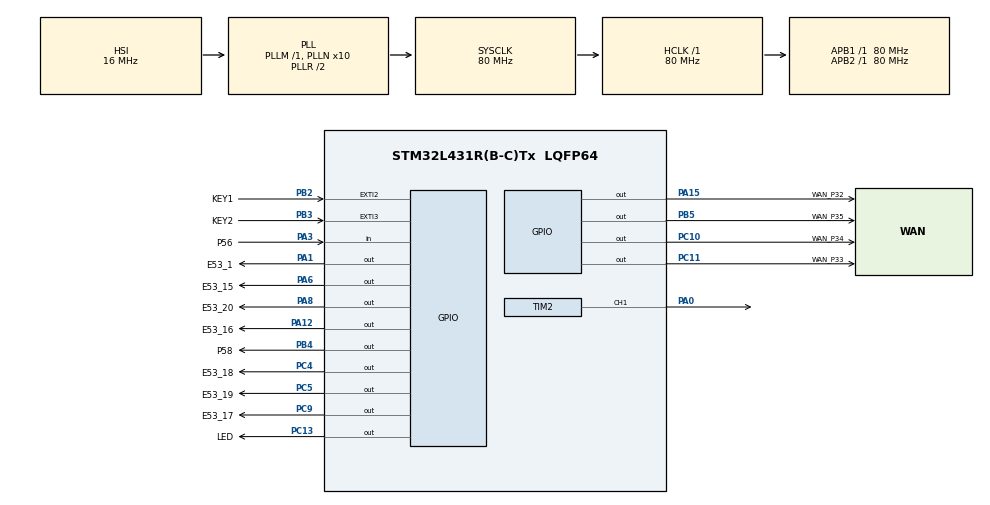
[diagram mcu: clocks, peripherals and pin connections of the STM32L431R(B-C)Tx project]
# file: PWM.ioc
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Mcu.Family=STM32L4
Mcu.Name=STM32L431R(B-C)Tx
Mcu.Package=LQFP64
NVIC.EXTI3_IRQn=true\:0\:0\:false\:false\:true\:true\:true\:true
NVIC.PriorityGroup=NVIC_PRIORITYGROUP_4
NVIC.TIM2_IRQn=true\:0\:0\:false\:false\:true\:true\:true\:true
PA0.Signal=S_TIM2_CH1
PA1.GPIO_Label=E53_1
PA1.Signal=GPIO_Output
PA12.GPIO_Label=E53_16
PA12.Signal=GPIO_Output
PA15\ (JTDI).GPIO_Label=WAN_P32
PA15\ (JTDI).Signal=GPIO_Output
PA3.GPIO_Label=P56
PA3.Signal=GPIO_Input
PA6.GPIO_Label=E53_15
PA6.Signal=GPIO_Output
PA8.GPIO_Label=E53_20
PA8.Signal=GPIO_Output
PB2.GPIO_Label=KEY1
PB2.GPIO_PuPd=GPIO_PULLUP
PB2.Signal=GPXTI2
PB3\ (JTDO-TRACESWO).GPIO_Label=KEY2
PB3\ (JTDO-TRACESWO).GPIO_PuPd=GPIO_PULLUP
PB3\ (JTDO-TRACESWO).Signal=GPXTI3
PB4\ (NJTRST).GPIO_Label=P58
PB4\ (NJTRST).Signal=GPIO_Output
PB5.GPIO_Label=WAN_P35
PB5.Signal=GPIO_Output
PC10.GPIO_Label=WAN_P34
PC10.Signal=GPIO_Output
PC11.GPIO_Label=WAN_P33
PC11.Signal=GPIO_Output
PC13.GPIO_Label=LED
PC13.Signal=GPIO_Output
PC4.GPIO_Label=E53_18
PC4.Signal=GPIO_Output
PC5.GPIO_Label=E53_19
PC5.Signal=GPIO_Output
PC9.GPIO_Label=E53_17
PC9.Signal=GPIO_Output
ProjectManager.HeapSize=0x200
ProjectManager.StackSize=0x400
ProjectManager.TargetToolchain=MDK-ARM V5.27
RCC.ADCFreq_Value=64000000
RCC.AHBFreq_Value=80000000
RCC.APB1Freq_Value=80000000
RCC.APB1TimFreq_Value=80000000
RCC.APB2Freq_Value=80000000
RCC.APB2TimFreq_Value=80000000
RCC.CortexFreq_Value=80000000
RCC.HCLKFreq_Value=80000000
RCC.HSE_VALUE=8000000
RCC.HSI48_VALUE=48000000
RCC.HSI_VALUE=16000000
RCC.LSE_VALUE=32768
RCC.MSI_VALUE=4000000
RCC.PLLN=10
RCC.PLLSourceVirtual=RCC_PLLSOURCE_HSI
RCC.SYSCLKFreq_VALUE=80000000
RCC.SYSCLKSource=RCC_SYSCLKSOURCE_PLLCLK
RCC.VCOOutputFreq_Value=160000000
SH.S_TIM2_CH1.0=TIM2_CH1,PWM Generation1 CH1
TIM2.Channel-PWM\ Generation1\ CH1=TIM_CHANNEL_1
TIM2.Period=1739-1
TIM2.Prescaler=4-1
TIM2.Pulse-PWM\ Generation1\ CH1=869
board=custom

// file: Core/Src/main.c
/* USER CODE BEGIN Header */
/**
  ******************************************************************************
  * @file           : main.c
  * @brief          : Main program body
  ******************************************************************************
  * @attention
  *
  * Copyright (c) 2024 STMicroelectronics.
  * All rights reserved.
  *
  * This software is licensed under terms that can be found in the LICENSE file
  * in the root directory of this software component.
  * If no LICENSE file comes with this software, it is provided AS-IS.
  *
  ******************************************************************************
  */
/* USER CODE END Header */
#include "main.h"

/* USER CODE BEGIN Includes */
#include "tube.h"
/* USER CODE END Includes */

/* USER CODE BEGIN PD */
#define DURATION_PER_BIT 10
/* USER CODE END PD */

TIM_HandleTypeDef htim2;

void SystemClock_Config(void);
static void MX_GPIO_Init(void);
static void MX_TIM2_Init(void);

/* USER CODE BEGIN 0 */
void sendData(char left_end, char middle_left, char middle_right, char right_end, char durationPerBit){
	tube_display(10,10,10,10,4);

	HAL_TIM_PWM_Start_IT(&htim2, TIM_CHANNEL_1);
	HAL_Delay(durationPerBit);//Start Bit #1
	HAL_Delay(left_end * durationPerBit);//High Level Bit #1

	HAL_TIM_PWM_Stop_IT(&htim2, TIM_CHANNEL_1);
	HAL_Delay(9*durationPerBit - left_end*durationPerBit);//Low Level Bit #1
	HAL_Delay(durationPerBit);//Stop Bit #1

	HAL_TIM_PWM_Start_IT(&htim2, TIM_CHANNEL_1);
	HAL_Delay(durationPerBit);//Start Bit #2
	HAL_Delay(middle_left * durationPerBit);//High Level Bit #2

	HAL_TIM_PWM_Stop_IT(&htim2, TIM_CHANNEL_1);
	HAL_Delay(9*durationPerBit - middle_left*durationPerBit);//Low Level Bit #2
	HAL_Delay(durationPerBit);//Stop Bit #2

	HAL_TIM_PWM_Start_IT(&htim2, TIM_CHANNEL_1);
	HAL_Delay(durationPerBit);//Start Bit #3
	HAL_Delay(middle_right * durationPerBit);//High Level Bit #3

	HAL_TIM_PWM_Stop_IT(&htim2, TIM_CHANNEL_1);
	HAL_Delay(9*durationPerBit - middle_right*durationPerBit);//Low Level Bit #3
	HAL_Delay(durationPerBit);//Stop Bit #3

	HAL_TIM_PWM_Start_IT(&htim2, TIM_CHANNEL_1);
	HAL_Delay(durationPerBit);//Start Bit #4
	HAL_Delay(right_end * durationPerBit);//High Level Bit #4

	HAL_TIM_PWM_Stop_IT(&htim2, TIM_CHANNEL_1);
	HAL_Delay(9*durationPerBit - right_end*durationPerBit);//Low Level Bit #4
	HAL_Delay(durationPerBit);//Stop Bit #4
}
/* USER CODE END 0 */

int main(void)
{
  /* USER CODE BEGIN 1 */
	uint8_t transmitting = 0, overallTransmitting = 0;
	uint8_t digit = 1, num_left_end = 10, num_middle_left = 10, num_middle_right = 10, num_right_end = 10;
	uint32_t timeStart, timePause;
	GPIO_PinState input_pin_state_new = GPIO_PIN_RESET, input_pin_state_old = GPIO_PIN_RESET;
  /* USER CODE END 1 */

  /* MCU Configuration--------------------------------------------------------*/

  /* Reset of all peripherals, Initializes the Flash interface and the Systick. */
  HAL_Init();

  /* Configure the system clock */
  SystemClock_Config();

  /* Initialize all configured peripherals */
  MX_GPIO_Init();
  MX_TIM2_Init();
  /* USER CODE BEGIN 2 */
	HAL_TIM_Base_Start_IT(&htim2);

  /* USER CODE END 2 */

  /* Infinite loop */
  while (1)
  {

    /* USER CODE BEGIN 3 */
		input_pin_state_new = HAL_GPIO_ReadPin(GPIOA,P56_Pin);
		if((input_pin_state_new == GPIO_PIN_SET) && (input_pin_state_old == GPIO_PIN_RESET))//0->1
		{
			if(!transmitting){
				timeStart = HAL_GetTick();
				transmitting = 1;
			}
			if(!overallTransmitting){
				overallTransmitting = 1;
				digit = 1;
				num_left_end = 10;
				num_middle_left = 10;
				num_middle_right = 10;
				num_right_end = 10;
			}
			else if(digit>4) digit = 1;
		}
		else if((input_pin_state_new == GPIO_PIN_RESET) && (input_pin_state_old == GPIO_PIN_SET))//1->0
		{
			if(transmitting) timePause = HAL_GetTick();
		}
		else if((input_pin_state_new == GPIO_PIN_RESET) && (input_pin_state_old == GPIO_PIN_RESET))//0->0
		{
			if(transmitting && (HAL_GetTick()-timePause >= DURATION_PER_BIT/2)){
				transmitting = 0;
				if(digit == 1) num_left_end = ((timePause-timeStart)/DURATION_PER_BIT - 1)%10;
				else if(digit == 2) num_middle_left = ((timePause-timeStart)/DURATION_PER_BIT - 1)%10;
				else if(digit == 3) num_middle_right = ((timePause-timeStart)/DURATION_PER_BIT - 1)%10;
				else if(digit == 4) num_right_end = ((timePause-timeStart)/DURATION_PER_BIT - 1)%10;
				digit++;
				if(digit > 4) digit = 5;
			}
			if(overallTransmitting && (HAL_GetTick()-timePause > 5000)) overallTransmitting = 0;
		}
		input_pin_state_old = input_pin_state_new;
		if(overallTransmitting) tube_display(num_left_end,num_middle_left,num_middle_right,num_right_end,4);
		else tube_display(num_left_end,num_middle_left,num_middle_right,num_right_end,0);
	}
  /* USER CODE END 3 */
}

void SystemClock_Config(void)
{
  RCC_OscInitTypeDef RCC_OscInitStruct = {0};
  RCC_ClkInitTypeDef RCC_ClkInitStruct = {0};

  /** Configure the main internal regulator output voltage
  */
  if (HAL_PWREx_ControlVoltageScaling(PWR_REGULATOR_VOLTAGE_SCALE1) != HAL_OK)
  {
    Error_Handler();
  }

  /** Initializes the RCC Oscillators according to the specified parameters
  * in the RCC_OscInitTypeDef structure.
  */
  RCC_OscInitStruct.OscillatorType = RCC_OSCILLATORTYPE_HSI;
  RCC_OscInitStruct.HSIState = RCC_HSI_ON;
  RCC_OscInitStruct.HSICalibrationValue = RCC_HSICALIBRATION_DEFAULT;
  RCC_OscInitStruct.PLL.PLLState = RCC_PLL_ON;
  RCC_OscInitStruct.PLL.PLLSource = RCC_PLLSOURCE_HSI;
  RCC_OscInitStruct.PLL.PLLM = 1;
  RCC_OscInitStruct.PLL.PLLN = 10;
  RCC_OscInitStruct.PLL.PLLP = RCC_PLLP_DIV7;
  RCC_OscInitStruct.PLL.PLLQ = RCC_PLLQ_DIV2;
  RCC_OscInitStruct.PLL.PLLR = RCC_PLLR_DIV2;
  if (HAL_RCC_OscConfig(&RCC_OscInitStruct) != HAL_OK)
  {
    Error_Handler();
  }

  /** Initializes the CPU, AHB and APB buses clocks
  */
  RCC_ClkInitStruct.ClockType = RCC_CLOCKTYPE_HCLK|RCC_CLOCKTYPE_SYSCLK
                              |RCC_CLOCKTYPE_PCLK1|RCC_CLOCKTYPE_PCLK2;
  RCC_ClkInitStruct.SYSCLKSource = RCC_SYSCLKSOURCE_PLLCLK;
  RCC_ClkInitStruct.AHBCLKDivider = RCC_SYSCLK_DIV1;
  RCC_ClkInitStruct.APB1CLKDivider = RCC_HCLK_DIV1;
  RCC_ClkInitStruct.APB2CLKDivider = RCC_HCLK_DIV1;

  if (HAL_RCC_ClockConfig(&RCC_ClkInitStruct, FLASH_LATENCY_4) != HAL_OK)
  {
    Error_Handler();
  }
}

static void MX_TIM2_Init(void)
{

  TIM_MasterConfigTypeDef sMasterConfig = {0};
  TIM_OC_InitTypeDef sConfigOC = {0};

  htim2.Instance = TIM2;
  htim2.Init.Prescaler = 4-1;
  htim2.Init.CounterMode = TIM_COUNTERMODE_UP;
  htim2.Init.Period = 1739-1;
  htim2.Init.ClockDivision = TIM_CLOCKDIVISION_DIV1;
  htim2.Init.AutoReloadPreload = TIM_AUTORELOAD_PRELOAD_DISABLE;
  if (HAL_TIM_PWM_Init(&htim2) != HAL_OK)
  {
    Error_Handler();
  }
  sMasterConfig.MasterOutputTrigger = TIM_TRGO_RESET;
  sMasterConfig.MasterSlaveMode = TIM_MASTERSLAVEMODE_DISABLE;
  if (HAL_TIMEx_MasterConfigSynchronization(&htim2, &sMasterConfig) != HAL_OK)
  {
    Error_Handler();
  }
  sConfigOC.OCMode = TIM_OCMODE_PWM1;
  sConfigOC.Pulse = 869;
  sConfigOC.OCPolarity = TIM_OCPOLARITY_HIGH;
  sConfigOC.OCFastMode = TIM_OCFAST_DISABLE;
  if (HAL_TIM_PWM_ConfigChannel(&htim2, &sConfigOC, TIM_CHANNEL_1) != HAL_OK)
  {
    Error_Handler();
  }
  HAL_TIM_MspPostInit(&htim2);

}

static void MX_GPIO_Init(void)
{
  GPIO_InitTypeDef GPIO_InitStruct = {0};

  /* GPIO Ports Clock Enable */
  __HAL_RCC_GPIOC_CLK_ENABLE();
  __HAL_RCC_GPIOA_CLK_ENABLE();
  __HAL_RCC_GPIOB_CLK_ENABLE();

  /*Configure GPIO pin Output Level */
  HAL_GPIO_WritePin(GPIOC, LED_Pin|E53_18_Pin|E53_19_Pin|E53_17_Pin
                          |WAN_P34_Pin|WAN_P33_Pin, GPIO_PIN_RESET);

  /*Configure GPIO pin Output Level */
  HAL_GPIO_WritePin(GPIOA, E53_1_Pin|E53_15_Pin|E53_20_Pin|E53_16_Pin
                          |WAN_P32_Pin, GPIO_PIN_RESET);

  /*Configure GPIO pin Output Level */
  HAL_GPIO_WritePin(GPIOB, P58_Pin|WAN_P35_Pin, GPIO_PIN_RESET);

  /*Configure GPIO pins : LED_Pin E53_18_Pin E53_19_Pin E53_17_Pin
                           WAN_P34_Pin WAN_P33_Pin */
  GPIO_InitStruct.Pin = LED_Pin|E53_18_Pin|E53_19_Pin|E53_17_Pin
                          |WAN_P34_Pin|WAN_P33_Pin;
  GPIO_InitStruct.Mode = GPIO_MODE_OUTPUT_PP;
  GPIO_InitStruct.Pull = GPIO_NOPULL;
  GPIO_InitStruct.Speed = GPIO_SPEED_FREQ_LOW;
  HAL_GPIO_Init(GPIOC, &GPIO_InitStruct);

  /*Configure GPIO pins : E53_1_Pin E53_15_Pin E53_20_Pin E53_16_Pin
                           WAN_P32_Pin */
  GPIO_InitStruct.Pin = E53_1_Pin|E53_15_Pin|E53_20_Pin|E53_16_Pin
                          |WAN_P32_Pin;
  GPIO_InitStruct.Mode = GPIO_MODE_OUTPUT_PP;
  GPIO_InitStruct.Pull = GPIO_NOPULL;
  GPIO_InitStruct.Speed = GPIO_SPEED_FREQ_LOW;
  HAL_GPIO_Init(GPIOA, &GPIO_InitStruct);

  /*Configure GPIO pin : P56_Pin */
  GPIO_InitStruct.Pin = P56_Pin;
  GPIO_InitStruct.Mode = GPIO_MODE_INPUT;
  GPIO_InitStruct.Pull = GPIO_NOPULL;
  HAL_GPIO_Init(P56_GPIO_Port, &GPIO_InitStruct);

  /*Configure GPIO pins : KEY1_Pin KEY2_Pin */
  GPIO_InitStruct.Pin = KEY1_Pin|KEY2_Pin;
  GPIO_InitStruct.Mode = GPIO_MODE_IT_RISING;
  GPIO_InitStruct.Pull = GPIO_PULLUP;
  HAL_GPIO_Init(GPIOB, &GPIO_InitStruct);

  /*Configure GPIO pins : P58_Pin WAN_P35_Pin */
  GPIO_InitStruct.Pin = P58_Pin|WAN_P35_Pin;
  GPIO_InitStruct.Mode = GPIO_MODE_OUTPUT_PP;
  GPIO_InitStruct.Pull = GPIO_NOPULL;
  GPIO_InitStruct.Speed = GPIO_SPEED_FREQ_LOW;
  HAL_GPIO_Init(GPIOB, &GPIO_InitStruct);

  /* EXTI interrupt init*/
  HAL_NVIC_SetPriority(EXTI3_IRQn, 0, 0);
  HAL_NVIC_EnableIRQ(EXTI3_IRQn);

}

/* USER CODE BEGIN 4 */
void HAL_TIM_PeriodElapsedCallback(TIM_HandleTypeDef *htim)
{
	if (htim == &htim2)
	{
		HAL_GPIO_WritePin(LED_GPIO_Port, LED_Pin, GPIO_PIN_SET);
	}
}

void HAL_TIM_OC_DelayElapsedCallback(TIM_HandleTypeDef *htim)
{
	if (htim == &htim2)
	{
		HAL_GPIO_WritePin(LED_GPIO_Port, LED_Pin, GPIO_PIN_SET);
	}
}

void HAL_GPIO_EXTI_Callback (uint16_t GPIO_Pin)
{
//	if(GPIO_Pin == KEY1_Pin);
}

/* USER CODE END 4 */

void Error_Handler(void)
{
  __disable_irq();
  while (1)
  {
  }
}
